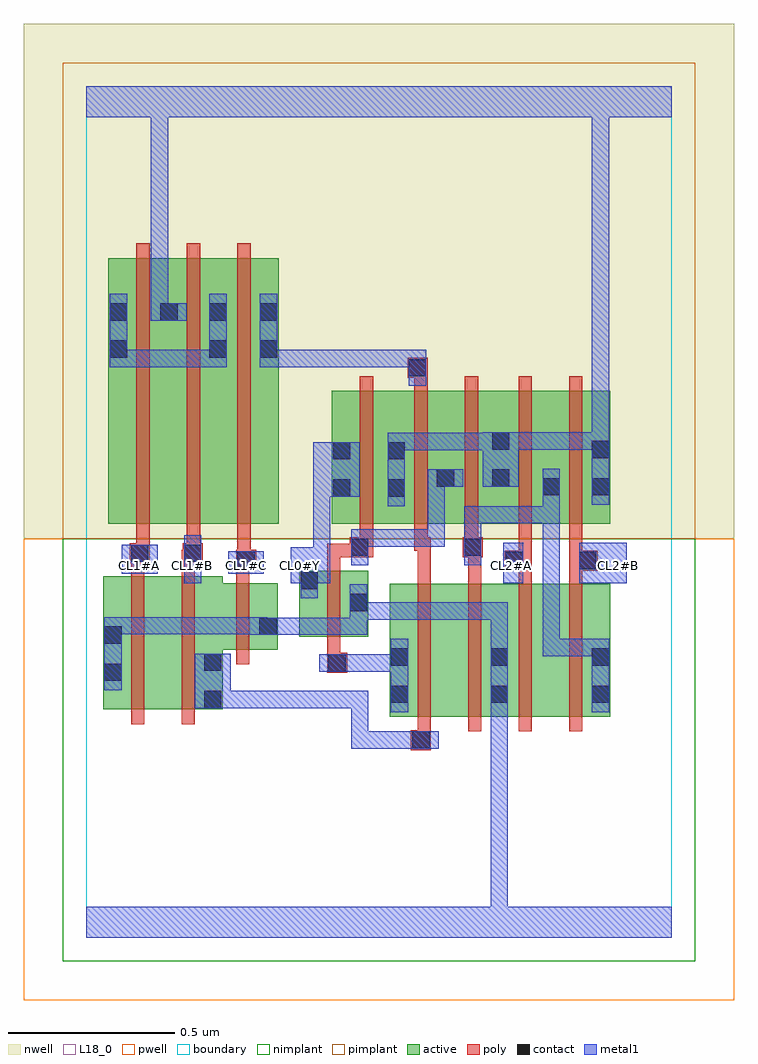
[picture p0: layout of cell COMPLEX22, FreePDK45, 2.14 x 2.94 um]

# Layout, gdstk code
import gdstk
lib = gdstk.Library(unit=1e-6, precision=1e-09)
def R(c, l, rs):  # rectangles x0, y0, x1, y1
    for r in rs: c.add(gdstk.rectangle(r[:2], r[2:], *l))
def A(c, l, x, y, w, h, nx, ny, dx, dy):  # array of equal rectangles
    R(c, l, [(x+i*dx, y+j*dy, x+i*dx+w, y+j*dy+h) for i in range(nx) for j in range(ny)])
active = (1, 0)
pwell = (2, 0)
nwell = (3, 0)
nimplant = (4, 0)
pimplant = (5, 0)
poly = (9, 0)
contact = (10, 0)
metal1 = (11, 0)
L18_0 = (18, 0)
boundary = (235, 0)

complex22 = lib.new_cell('COMPLEX22')
R(complex22, active, [(0.912,0.664,0.972,1.064), (0.912,0.664,1.092,1.064), (1.092,0.664,1.272,1.064), (1.212,0.664,1.396,1.064), (1.212,0.664,1.272,0.902), (1.396,0.664,1.576,1.064), (1.516,0.664,1.576,1.064), (0.05,0.686,0.23,1.086), (0.23,0.686,0.41,1.086), (0.35,0.686,0.41,1.028), (0.05,0.756,0.11,1.086), (0.35,0.866,0.576,1.066), (0.516,0.866,0.576,1.066), (0.64,0.904,0.7,1.104), (0.64,0.904,0.848,1.104), (0.788,0.904,0.848,1.104), (0.066,1.244,0.126,2.044), (0.066,1.244,0.278,2.044), (0.218,1.244,0.426,2.044), (0.366,1.244,0.426,2.044), (0.366,1.244,0.578,2.044), (0.518,1.244,0.578,2.044), (0.738,1.244,0.798,1.644), (0.738,1.244,0.962,1.644), (0.902,1.244,0.962,1.644), (0.902,1.244,1.11,1.644), (1.05,1.244,1.11,1.644), (1.05,1.244,1.276,1.644), (1.216,1.244,1.276,1.644), (1.216,1.244,1.428,1.644), (1.368,1.244,1.428,1.644), (1.368,1.244,1.576,1.644), (1.516,1.244,1.576,1.644), (0.218,1.334,0.278,2.044)])
R(complex22, pwell, [(-0.188,-0.188,1.948,1.2)])
R(complex22, nwell, [(-0.188,1.2,1.948,2.748)])
R(complex22, nimplant, [(-0.072,-0.072,1.832,1.2)])
R(complex22, pimplant, [(-0.072,1.2,1.832,2.632)])
A(complex22, poly, 0.996, 0.62, 0.04, 0.488, 4, 1, 0.152, 0)
A(complex22, poly, 0.15, 1.2, 0.04, 0.888, 3, 1, 0.152, 0)
R(complex22, poly, [(0.976,0.564,1.036,0.624), (0.996,0.584,1.036,0.66), (0.134,0.642,0.174,1.13), (0.286,0.642,0.326,1.13), (0.724,0.796,0.784,0.856), (0.724,0.816,0.764,0.9), (0.45,0.822,0.49,1.11), (0.724,0.86,0.764,1.148), (0.996,1.068,1.036,1.204), (1.148,1.068,1.188,1.184), (1.3,1.068,1.34,1.144), (1.452,1.068,1.492,1.144), (0.45,1.07,0.49,1.146), (0.134,1.09,0.174,1.166), (0.286,1.09,0.326,1.166), (1.258,1.104,1.34,1.164), (1.452,1.104,1.492,1.144), (1.452,1.104,1.492,1.144), (1.452,1.104,1.538,1.164), (0.45,1.106,0.51,1.166), (0.724,1.108,0.764,1.184), (1.3,1.124,1.34,1.24), (1.3,1.124,1.34,1.164), (1.3,1.124,1.34,1.164), (1.452,1.124,1.492,1.24), (0.13,1.126,0.19,1.186), (0.286,1.126,0.33,1.166), (0.29,1.126,0.33,1.166), (0.29,1.126,0.35,1.186), (0.454,1.126,0.494,1.166), (0.454,1.126,0.494,1.166), (0.454,1.126,0.494,1.24), (0.724,1.144,0.832,1.184), (0.792,1.144,0.832,1.184), (0.792,1.144,0.862,1.204), (1.132,1.144,1.192,1.204), (1.148,1.144,1.188,1.184), (1.148,1.144,1.188,1.184), (0.15,1.146,0.19,1.186), (0.15,1.146,0.19,1.186), (0.15,1.146,0.19,1.24), (0.302,1.146,0.342,1.24), (0.822,1.164,0.862,1.24), (0.986,1.164,1.026,1.204), (0.986,1.164,1.026,1.204), (0.986,1.164,1.026,1.24), (0.986,1.164,1.036,1.204), (1.138,1.164,1.178,1.24), (0.822,1.2,0.862,1.688), (0.986,1.2,1.026,1.688), (1.138,1.2,1.178,1.688), (1.3,1.2,1.34,1.688), (1.452,1.2,1.492,1.688), (0.986,1.648,1.026,1.724), (0.966,1.684,1.026,1.744)])
R(complex22, contact, [(0.98,0.568,1.032,0.62), (0.354,0.69,0.406,0.742), (0.916,0.706,0.968,0.758), (1.216,0.706,1.268,0.758), (1.52,0.706,1.572,0.758), (0.054,0.772,0.106,0.824), (0.728,0.8,0.78,0.852), (0.354,0.802,0.406,0.854), (0.916,0.818,0.968,0.87), (1.216,0.818,1.268,0.87), (1.52,0.818,1.572,0.87), (0.054,0.884,0.106,0.936), (0.52,0.91,0.572,0.962), (0.792,0.982,0.844,1.034), (0.644,1.048,0.696,1.1), (1.262,1.108,1.314,1.16), (1.482,1.108,1.534,1.16), (0.454,1.11,0.506,1.162), (0.134,1.13,0.186,1.182), (0.294,1.13,0.346,1.182), (0.796,1.148,0.848,1.2), (1.136,1.148,1.188,1.2), (0.742,1.326,0.794,1.378), (0.906,1.326,0.958,1.378), (1.372,1.33,1.424,1.382), (1.52,1.33,1.572,1.382), (1.054,1.356,1.106,1.408), (1.22,1.356,1.272,1.408), (0.742,1.438,0.794,1.49), (0.906,1.438,0.958,1.49), (1.52,1.442,1.572,1.494), (1.22,1.468,1.272,1.52), (0.97,1.688,1.022,1.74), (0.07,1.744,0.122,1.796), (0.37,1.744,0.422,1.796), (0.522,1.744,0.574,1.796), (0.07,1.856,0.122,1.908), (0.222,1.856,0.274,1.908), (0.37,1.856,0.422,1.908), (0.522,1.856,0.574,1.908)])
A(complex22, metal1, 0.916, 1.176, 0.052, 0.052, 3, 1, 0.11, 0)
R(complex22, metal1, [(0,0,1.76,0.092), (1.216,0.04,1.268,0.092), (1.216,0.04,1.268,0.092), (1.216,0.04,1.268,0.092), (1.216,0.04,1.268,0.092), (1.216,0.04,1.268,0.092), (1.216,0.04,1.268,0.092), (1.216,0.04,1.268,0.73), (0.796,0.568,0.848,0.62), (0.796,0.568,0.968,0.62), (0.796,0.568,0.848,0.742), (0.916,0.568,0.968,0.62), (0.916,0.568,1.004,0.62), (0.952,0.568,1.06,0.62), (0.916,0.678,0.968,0.898), (1.216,0.678,1.268,0.73), (1.216,0.678,1.268,0.73), (1.216,0.678,1.268,0.73), (1.216,0.678,1.268,0.73), (1.216,0.678,1.268,0.73), (1.216,0.678,1.268,0.73), (1.216,0.678,1.268,0.898), (1.52,0.678,1.572,0.898), (0.326,0.69,0.434,0.854), (0.382,0.69,0.434,0.742), (0.382,0.69,0.434,0.742), (0.382,0.69,0.642,0.742), (0.59,0.69,0.642,0.742), (0.59,0.69,0.642,0.742), (0.59,0.69,0.642,0.742), (0.59,0.69,0.848,0.742), (0.796,0.69,0.848,0.742), (0.796,0.69,0.848,0.742), (0.796,0.69,0.848,0.742), (0.054,0.744,0.106,0.964), (0.7,0.8,0.808,0.852), (0.756,0.8,0.844,0.852), (0.792,0.8,0.844,0.852), (0.792,0.8,0.968,0.852), (1.216,0.846,1.268,0.898), (1.216,0.846,1.268,0.898), (1.216,0.846,1.268,0.898), (1.216,0.846,1.268,0.898), (1.216,0.846,1.268,1.008), (1.372,0.846,1.424,0.898), (1.372,0.846,1.572,0.898), (1.372,0.846,1.424,1.298), (1.52,0.846,1.572,0.898), (1.52,0.846,1.572,0.898), (1.52,0.846,1.572,0.898), (1.52,0.846,1.572,0.898), (0.492,0.91,0.544,0.962), (0.492,0.91,0.6,0.962), (0.492,0.91,0.544,0.964), (0.548,0.91,0.6,0.962), (0.548,0.91,0.6,0.962), (0.548,0.91,0.844,0.962), (0.792,0.91,0.844,0.962), (0.792,0.91,0.844,0.962), (0.792,0.91,0.844,0.962), (0.792,0.91,0.844,1.006), (0.054,0.912,0.106,0.964), (0.054,0.912,0.106,0.964), (0.054,0.912,0.268,0.964), (0.216,0.912,0.268,0.964), (0.216,0.912,0.268,0.964), (0.216,0.912,0.268,0.964), (0.216,0.912,0.434,0.964), (0.382,0.912,0.434,0.964), (0.382,0.912,0.434,0.964), (0.382,0.912,0.434,0.964), (0.382,0.912,0.544,0.964), (0.792,0.954,0.844,1.062), (0.792,0.956,0.968,1.008), (0.916,0.956,0.968,1.008), (0.916,0.956,0.968,1.008), (0.916,0.956,0.968,1.008), (0.916,0.956,1.078,1.008), (1.026,0.956,1.078,1.008), (1.026,0.956,1.078,1.008), (1.026,0.956,1.078,1.008), (1.026,0.956,1.268,1.008), (1.216,0.956,1.268,1.008), (0.644,1.02,0.696,1.128), (0.294,1.066,0.346,1.21), (0.614,1.066,0.734,1.174), (1.254,1.066,1.314,1.188), (1.482,1.066,1.626,1.188), (0.644,1.076,0.696,1.128), (0.106,1.094,0.214,1.182), (0.426,1.094,0.534,1.162), (0.796,1.12,0.848,1.228), (1.136,1.12,1.188,1.228), (0.682,1.122,0.734,1.378), (0.796,1.176,0.848,1.228), (0.796,1.176,0.848,1.228), (0.796,1.176,0.968,1.228), (0.916,1.176,0.968,1.228), (0.916,1.176,0.968,1.228), (0.916,1.176,1.078,1.228), (1.026,1.176,1.078,1.408), (1.136,1.176,1.188,1.298), (1.136,1.246,1.424,1.298), (1.372,1.246,1.424,1.298), (1.372,1.246,1.424,1.298), (1.372,1.246,1.424,1.298), (1.372,1.246,1.424,1.354), (0.906,1.298,0.958,1.518), (1.372,1.302,1.424,1.41), (1.52,1.302,1.572,1.522), (0.682,1.326,0.734,1.378), (0.682,1.326,0.734,1.378), (0.682,1.326,0.822,1.49), (1.026,1.356,1.134,1.408), (1.192,1.356,1.3,1.52), (0.906,1.466,0.958,1.518), (0.906,1.466,0.958,1.518), (0.906,1.466,1.078,1.518), (1.026,1.466,1.078,1.518), (1.026,1.466,1.078,1.518), (1.026,1.466,1.078,1.518), (1.026,1.466,1.244,1.518), (1.248,1.468,1.41,1.52), (1.358,1.468,1.41,1.52), (1.358,1.468,1.41,1.52), (1.358,1.468,1.41,1.52), (1.358,1.468,1.572,1.52), (1.52,1.468,1.572,1.52), (1.52,1.468,1.572,1.52), (1.52,1.47,1.572,2.52), (0.97,1.66,1.022,1.768), (0.07,1.716,0.122,1.768), (0.07,1.716,0.122,1.768), (0.07,1.716,0.122,1.936), (0.07,1.716,0.268,1.768), (0.216,1.716,0.268,1.768), (0.216,1.716,0.268,1.768), (0.216,1.716,0.268,1.768), (0.216,1.716,0.422,1.768), (0.37,1.716,0.422,1.936), (0.522,1.716,0.574,1.768), (0.522,1.716,0.574,1.768), (0.522,1.716,0.574,1.936), (0.522,1.716,0.844,1.768), (0.792,1.716,0.844,1.768), (0.792,1.716,0.844,1.768), (0.792,1.716,0.844,1.768), (0.792,1.716,0.968,1.768), (0.916,1.716,0.968,1.768), (0.916,1.716,1.022,1.768), (0.194,1.856,0.246,1.908), (0.194,1.856,0.246,1.908), (0.194,1.856,0.246,1.908), (0.194,1.856,0.246,1.908), (0.194,1.856,0.246,1.908), (0.194,1.856,0.246,1.908), (0.194,1.856,0.246,1.908), (0.194,1.856,0.246,1.908), (0.194,1.856,0.302,1.908), (0.194,1.856,0.246,2.52), (0,2.468,1.76,2.56), (1.52,2.468,1.572,2.52), (1.52,2.468,1.572,2.52), (1.52,2.468,1.572,2.52), (1.52,2.468,1.572,2.52), (1.52,2.468,1.572,2.52), (1.52,2.468,1.572,2.52), (1.52,2.468,1.572,2.52), (1.52,2.468,1.572,2.52), (1.52,2.468,1.572,2.52), (1.52,2.468,1.572,2.52), (1.52,2.468,1.572,2.52), (1.52,2.468,1.572,2.52), (1.52,2.468,1.572,2.52), (1.52,2.468,1.572,2.52), (1.52,2.468,1.572,2.52), (1.52,2.468,1.572,2.52)])
A(complex22, L18_0, 0.134, 1.094, 0.052, 0.052, 4, 1, 0.16, 0)
R(complex22, L18_0, [(0,0,1.76,0.092), (1.216,0.04,1.268,0.092), (1.216,0.04,1.268,0.092), (1.216,0.04,1.268,0.092), (1.216,0.04,1.268,0.092), (1.216,0.04,1.268,0.092), (1.216,0.04,1.268,0.092), (1.216,0.04,1.268,0.73), (1.216,0.678,1.268,0.898), (1.216,0.678,1.268,0.73), (1.216,0.678,1.268,0.73), (1.216,0.678,1.268,0.73), (1.216,0.678,1.268,0.73), (1.216,0.678,1.268,0.73), (1.216,0.678,1.268,0.73), (0.054,0.744,0.106,0.964), (1.216,0.846,1.268,0.898), (1.216,0.846,1.268,0.898), (1.216,0.846,1.268,0.898), (1.216,0.846,1.268,0.898), (1.216,0.846,1.268,1.008), (0.492,0.91,0.544,0.962), (0.492,0.91,0.6,0.962), (0.492,0.91,0.544,0.964), (0.548,0.91,0.6,0.962), (0.548,0.91,0.6,0.962), (0.548,0.91,0.844,0.962), (0.792,0.91,0.844,0.962), (0.792,0.91,0.844,0.962), (0.792,0.91,0.844,0.962), (0.792,0.91,0.844,1.006), (0.054,0.912,0.106,0.964), (0.054,0.912,0.106,0.964), (0.054,0.912,0.268,0.964), (0.216,0.912,0.268,0.964), (0.216,0.912,0.268,0.964), (0.216,0.912,0.268,0.964), (0.216,0.912,0.434,0.964), (0.382,0.912,0.434,0.964), (0.382,0.912,0.434,0.964), (0.382,0.912,0.434,0.964), (0.382,0.912,0.544,0.964), (0.792,0.954,0.844,1.062), (0.792,0.956,0.968,1.008), (0.916,0.956,0.968,1.008), (0.916,0.956,0.968,1.008), (0.916,0.956,0.968,1.008), (0.916,0.956,1.078,1.008), (1.026,0.956,1.078,1.008), (1.026,0.956,1.078,1.008), (1.026,0.956,1.078,1.008), (1.026,0.956,1.268,1.008), (1.216,0.956,1.268,1.008), (0.644,1.02,0.696,1.128), (0.294,1.066,0.346,1.21), (0.614,1.066,0.734,1.174), (1.254,1.066,1.314,1.188), (1.482,1.066,1.626,1.188), (0.644,1.076,0.696,1.128), (0.106,1.094,0.214,1.182), (0.426,1.094,0.534,1.162), (1.254,1.094,1.306,1.146), (1.574,1.094,1.626,1.146), (0.682,1.122,0.734,1.378), (0.906,1.298,0.958,1.518), (1.52,1.302,1.572,1.522), (0.682,1.326,0.734,1.378), (0.682,1.326,0.734,1.378), (0.682,1.326,0.822,1.49), (1.192,1.356,1.3,1.52), (0.906,1.466,0.958,1.518), (0.906,1.466,0.958,1.518), (0.906,1.466,1.078,1.518), (1.026,1.466,1.078,1.518), (1.026,1.466,1.078,1.518), (1.026,1.466,1.078,1.518), (1.026,1.466,1.244,1.518), (1.248,1.468,1.41,1.52), (1.358,1.468,1.41,1.52), (1.358,1.468,1.41,1.52), (1.358,1.468,1.41,1.52), (1.358,1.468,1.572,1.52), (1.52,1.468,1.572,1.52), (1.52,1.468,1.572,1.52), (1.52,1.47,1.572,2.52), (0.194,1.856,0.246,1.908), (0.194,1.856,0.246,1.908), (0.194,1.856,0.246,1.908), (0.194,1.856,0.246,1.908), (0.194,1.856,0.246,1.908), (0.194,1.856,0.246,1.908), (0.194,1.856,0.246,1.908), (0.194,1.856,0.246,1.908), (0.194,1.856,0.302,1.908), (0.194,1.856,0.246,2.52), (0,2.468,1.76,2.56), (1.52,2.468,1.572,2.52), (1.52,2.468,1.572,2.52), (1.52,2.468,1.572,2.52), (1.52,2.468,1.572,2.52), (1.52,2.468,1.572,2.52), (1.52,2.468,1.572,2.52), (1.52,2.468,1.572,2.52), (1.52,2.468,1.572,2.52), (1.52,2.468,1.572,2.52), (1.52,2.468,1.572,2.52), (1.52,2.468,1.572,2.52), (1.52,2.468,1.572,2.52), (1.52,2.468,1.572,2.52), (1.52,2.468,1.572,2.52), (1.52,2.468,1.572,2.52), (1.52,2.468,1.572,2.52)])
R(complex22, boundary, [(0,0,1.76,2.56)])
complex22.add(gdstk.Label('CL0#Y', (0.64,1.12), layer=11, texttype=0))
complex22.add(gdstk.Label('CL1#A', (0.16,1.12), layer=11, texttype=0))
complex22.add(gdstk.Label('CL1#B', (0.32,1.12), layer=11, texttype=0))
complex22.add(gdstk.Label('CL1#C', (0.48,1.12), layer=11, texttype=0))
complex22.add(gdstk.Label('CL2#A', (1.28,1.12), layer=11, texttype=0))
complex22.add(gdstk.Label('CL2#B', (1.6,1.12), layer=11, texttype=0))

lib.write_gds('COMPLEX22.gds')
